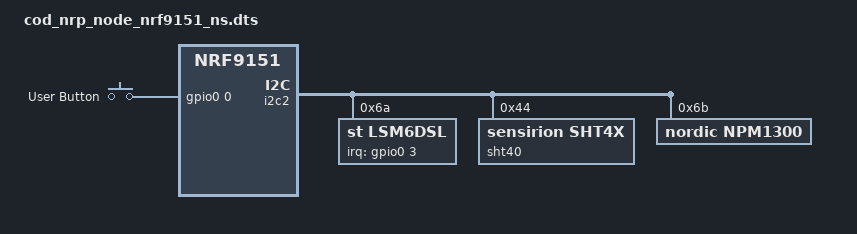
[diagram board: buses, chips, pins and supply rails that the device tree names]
/*
 * Copyright (c) 2025 Codium Electronique SAS
 * All rights reserved.
 */

/dts-v1/;

#include <arm/nordic/nrf9151_ns_laca.dtsi>
#include "cod_nrp_node_nrf9151_common.dtsi"

/ {
    chosen {
        zephyr,flash = &flash0;
        zephyr,sram = &sram0_ns_app;
        zephyr,code-partition = &slot0_ns_partition;
        //zephyr,bt-hci=&bt_hci_uart;
        //codlibz,bt-reset = &nrf54l15_reset;
        //codlibz,bt-crash = &nrf54l15_crash;
        //codlibz,c2p-prov-uart = &uart0;
    };

    buttons {
		compatible = "gpio-keys";
		button1: button1 {
			gpios = <&gpio0 0 GPIO_ACTIVE_HIGH>;
			label = "User Button";
		};
	};

    /* FIXME: Enable and set proper pins for REV B */
    /*nrf54l15_reset: nrf54l15-reset {
        compatible = "codium,bt-reset";
        status = "okay";

        reset-gpios = <&gpio0 5 GPIO_ACTIVE_HIGH>;
    };

    nrf54l15_crash: nrf54l15-crash {
        compatible = "codium,bt-crash";
        status = "okay";

        crash-gpios = <&gpio0 4 GPIO_ACTIVE_HIGH>;
    };*/
};

&gpio0 {
    // Use sense mechanism for GPIO edge detection on BLE LPUART REQ / RDY and inputs
    // nRF54L15 crash
    sense-edge-mask = <((1 << 0) | (1 << 4))>;
};

&gpiote {
    // Interrupts higher priority to lower radio latency
    interrupts = <49 NRF_DEFAULT_IRQ_PRIORITY>;
};

/* FIXME: re-enable and set proper pins for rev B */
/*&uart1 {
    status = "okay";
    current-speed = <1000000>;
    /delete-property/ hw-flow-control;
    zephyr,pm-device-runtime-auto;

    pinctrl-0 = <&uart1_default>;
    pinctrl-1 = <&uart1_sleep>;
    pinctrl-names = "default", "sleep";

    lpuart: nrf-sw-lpuart {
        compatible = "nordic,nrf-sw-lpuart";
        status = "okay";
        req-pin = <4>; // P0.04
        rdy-pin = <5>; // P0.05

        bt_hci_uart: bt_hci_uart {
            compatible = "zephyr,bt-hci-uart";
            status = "okay";
        };
    };
};*/

&i2c2 {
    status = "okay";

    // STMicroelectronics LSM6DSL 6-axis accelerometer and gyrometer accessed throug i2c bus
    lsm6dsl: lsm6dsl@6a {
        compatible = "st,lsm6dsl";
        status = "okay";
        reg = <0x6A>;
        irq-gpios = <&gpio0 3 GPIO_ACTIVE_HIGH>;
        #address-cells = <1>;
        #size-cells = <0>;

        // STMicroelectronics LIS2MDL magnetometer integrated with LSM6DSL
        lis2mdl: lis2mdl@40 {
            compatible = "st,lis2mdl";
            status = "okay";
            reg = <0x40>;
        };
    };

    sht40: sht4x@44 {
        compatible = "sensirion,sht4x";
        status = "okay";
        repeatability = <2>;
        reg = <0x44>;
        friendly-name = "sht40";
    };

    //PMIC npm1300
    npm1300: npm1300@6b {
        compatible = "nordic,npm1300";
        status = "okay";
        reg = <0x6b>;

        npm1300_charger: npm1300-charger {
            compatible = "nordic,npm1300-charger";
            status = "okay";
            charging-enable;
            term-microvolt = <4200000>; //uV => 4.2V
            current-microamp = <500000>; // uA => 500mA
            dischg-limit-microamp = <1000000>; // uA => 200mA
            vbus-limit-microamp = <500000>; // uA => 500mA
            thermistor-ohms = <0>; // Ohms => 0Ohms
            thermistor-beta = <0>;
            term-current-percent = <10>;
        };

        npm1300_led: npm1300-led {
            compatible = "nordic,npm1300-led";
            status = "okay";
            nordic,led0-mode = "host";
            nordic,led1-mode = "charging";
            nordic,led2-mode = "error";

        };
    };
};
